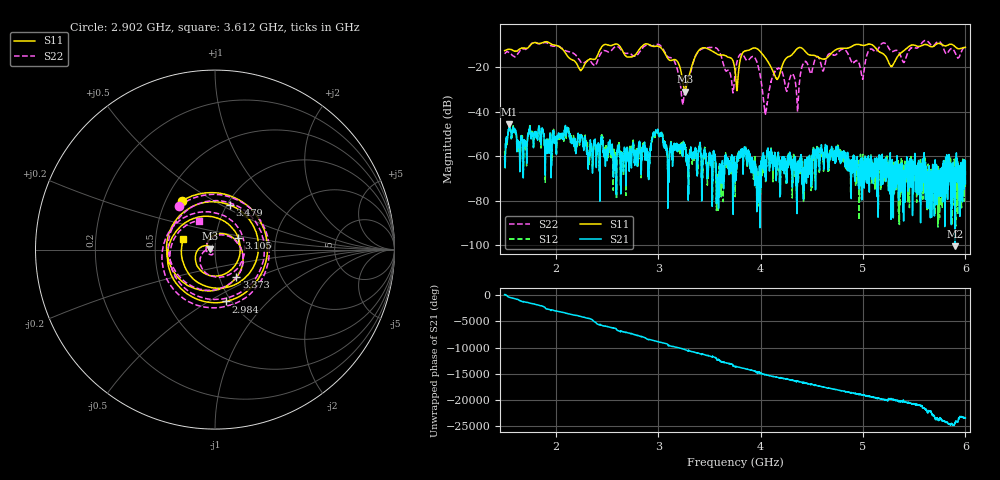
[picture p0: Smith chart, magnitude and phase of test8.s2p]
!Keysight Technologies N9923A: A.08.15
!Date: Monday, 19 February 2024 15:54:19
!Timezone: (GMT-05:00) Eastern Time (US & Canada)
!Model: N9923A
!Serial: MY52412730
!GPS Latitude:
!GPS Longitude:
!GPS TimeStamp: 0001-01-01 00:00:00Z
!GPS Seconds Since Last Read: 0
!CHECKSUM:1550921022
!Correction: S11(ON Q)S21(ON Q)S12(ON Q)S22(ON Q)
!S2P File: Measurements:S11,S21,S12,S22:
# Hz S DB R 50
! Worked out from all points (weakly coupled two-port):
!   4001 points, 1.5 GHz to 6 GHz, reference 50 ohm
!   highest |S21| = -45.54 dB at 1.547 GHz (marker M1); lowest = -100.5 dB at 5.901 GHz (marker M2)
!   lowest |S11| = -31.1 dB at 3.263 GHz (marker M3), VSWR 1.06, Z = 47.3 + j0.533 ohm
!   |S11| at or under -10 dB: 1.976 GHz to 2.47 GHz (493.3 MHz wide, 22.2 % of centre); 2.916 GHz to 4.919 GHz (2.003 GHz wide, 51.1 % of centre); 5.091 GHz to 5.592 GHz (501.5 MHz wide, 9.39 % of centre) (the widest 3 of 10)
!   |S22| runs from -41.1 to -8.0 dB; largest |S21 - S12| = 0.0013
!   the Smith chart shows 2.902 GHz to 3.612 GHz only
!   S11 on the Smith chart (normalised r, x): 2.902 GHz: 0.61, +0.37; 2.984 GHz: 0.95, -0.60; 3.105 GHz: 1.28, +0.17; 3.373 GHz: 1.20, -0.39; 3.479 GHz: 1.03, +0.55; 3.612 GHz: 0.70, +0.09
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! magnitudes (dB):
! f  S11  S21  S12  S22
! 1.5 GHz  -12.6  -61.4  -57.8  -14.0
! 1.547 GHz  -12.0  -45.5  -45.9  -13.5
! 2.25 GHz  -21.2  -51.6  -50.8  -18.1
! 2.902 GHz  -9.7  -64.6  -65.2  -10.1
! 2.984 GHz  -10.6  -49.0  -49.7  -9.8
! 3.001 GHz  -10.7  -49.7  -49.4  -9.8
! 3.105 GHz  -16.8  -71.1  -66.2  -15.6
! 3.263 GHz  -31.1  -56.7  -56.1  -29.6
! 3.373 GHz  -14.2  -59.1  -58.2  -14.3
! 3.479 GHz  -11.7  -64.7  -67.3  -11.3
! 3.612 GHz  -14.6  -69.0  -71.9  -14.6
! 3.75 GHz  -21.3  -62.8  -71.2  -23.1
! 3.939 GHz  -11.4  -67.2  -66.1  -15.6
! 3.982 GHz  -12.3  -75.7  -67.3  -20.5
! 4.049 GHz  -16.1  -67.3  -71.5  -40.2
! 4.16 GHz  -25.4  -62.3  -64.7  -20.9
! 4.359 GHz  -11.7  -73.7  -66.0  -38.2
! 4.42 GHz  -12.1  -68.5  -70.0  -18.1
! 4.5 GHz  -14.6  -70.2  -64.3  -22.3
! 5.251 GHz  -17.8  -72.1  -68.8  -11.3
! 5.901 GHz  -10.9  -100.5  -65.1  -13.6
! 6 GHz  -11.2  -72.4  -66.8  -10.6
